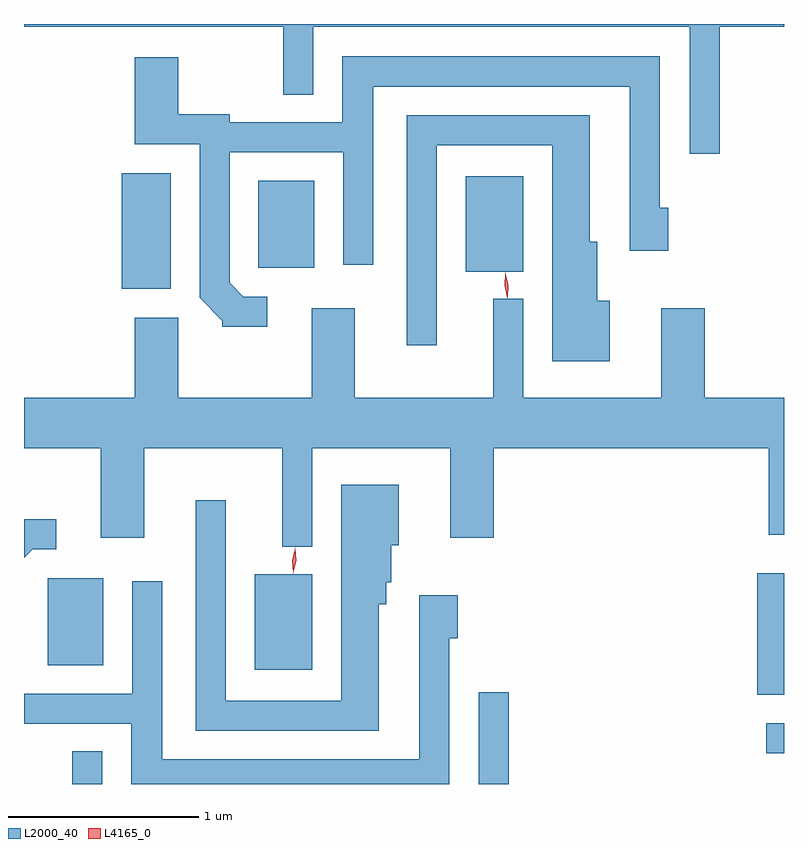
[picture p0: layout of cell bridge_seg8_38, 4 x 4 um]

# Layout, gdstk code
import gdstk
lib = gdstk.Library(unit=1e-6, precision=1e-09)
def R(c, l, rs):  # rectangles x0, y0, x1, y1
    for r in rs: c.add(gdstk.rectangle(r[:2], r[2:], *l))
def P(c, l, *ps):  # polygons
    for p in ps: c.add(gdstk.Polygon(p, *l))
L2000_40 = (2000, 40)
L4165_0 = (4165, 0)

bridge_seg8_38 = lib.new_cell('bridge_seg8_38')
R(bridge_seg8_38, L2000_40, [(1487.791,1879.05,1487.949,1879.223), (1489.931,1879.05,1490.089,1879.533), (1491.443,1879.211,1491.537,1879.369), (1491.396,1879.521,1491.537,1880.159), (1488.751,1879.651,1489.054,1880.154), (1487.661,1879.676,1487.954,1880.134), (1488.051,1881.656,1488.309,1882.264), (1489.861,1881.746,1490.164,1882.249), (1488.771,1881.766,1489.064,1882.224)])
P(bridge_seg8_38, L2000_40, [(1491.199,1883.036),(1491.537,1883.036),(1491.537,1883.05),(1487.537,1883.05),(1487.537,1883.036),(1488.901,1883.036),(1488.901,1882.678),(1489.059,1882.678),(1489.059,1883.036),(1491.041,1883.036),(1491.041,1882.368),(1491.199,1882.368)],
  [(1488.818,1881.614),(1488.692,1881.614),(1488.619,1881.687),(1488.619,1882.376),(1489.216,1882.376),(1489.216,1881.783),(1489.374,1881.783),(1489.374,1882.721),(1490.726,1882.721),(1490.726,1881.856),(1490.929,1881.856),(1490.929,1882.084),(1490.884,1882.084),(1490.884,1882.879),(1489.211,1882.879),(1489.211,1882.534),(1488.619,1882.534),(1488.619,1882.574),(1488.349,1882.574),(1488.349,1882.874),(1488.121,1882.874),(1488.121,1882.416),(1488.461,1882.416),(1488.461,1881.609),(1488.581,1881.489),(1488.581,1881.456),(1488.818,1881.456)],
  [(1490.619,1881.594),(1490.554,1881.594),(1490.554,1881.904),(1490.514,1881.904),(1490.514,1882.569),(1489.551,1882.569),(1489.551,1881.358),(1489.709,1881.358),(1489.709,1882.411),(1490.316,1882.411),(1490.316,1881.276),(1490.619,1881.276)],
  [(1490.891,1881.554),(1490.891,1881.084),(1490.164,1881.084),(1490.164,1881.603),(1490.006,1881.603),(1490.006,1881.084),(1489.279,1881.084),(1489.279,1881.554),(1489.051,1881.554),(1489.051,1881.084),(1488.349,1881.084),(1488.349,1881.504),(1488.121,1881.504),(1488.121,1881.084),(1487.537,1881.084),(1487.537,1880.816),(1487.941,1880.816),(1487.941,1880.346),(1488.169,1880.346),(1488.169,1880.816),(1488.896,1880.816),(1488.896,1880.298),(1489.054,1880.298),(1489.054,1880.816),(1489.781,1880.816),(1489.781,1880.346),(1490.009,1880.346),(1490.009,1880.816),(1491.456,1880.816),(1491.456,1880.361),(1491.537,1880.361),(1491.537,1881.084),(1491.119,1881.084),(1491.119,1881.554)],
  [(1489.404,1879.996),(1489.444,1879.996),(1489.444,1880.111),(1489.469,1880.111),(1489.469,1880.306),(1489.509,1880.306),(1489.509,1880.624),(1489.206,1880.624),(1489.206,1879.489),(1488.599,1879.489),(1488.599,1880.543),(1488.441,1880.543),(1488.441,1879.331),(1489.404,1879.331)],
  [(1487.582,1880.286),(1487.708,1880.286),(1487.708,1880.444),(1487.537,1880.444),(1487.537,1880.242)],
  [(1489.774,1879.816),(1489.819,1879.816),(1489.819,1880.044),(1489.616,1880.044),(1489.616,1879.179),(1488.264,1879.179),(1488.264,1880.118),(1488.106,1880.118),(1488.106,1879.524),(1487.537,1879.524),(1487.537,1879.366),(1488.101,1879.366),(1488.101,1879.05),(1489.774,1879.05)])
P(bridge_seg8_38, L4165_0, [(1490.081,1881.608),(1490.066,1881.673),(1490.069,1881.74),(1490.07,1881.74),(1490.07,1881.74),(1490.086,1881.675),(1490.082,1881.608),(1490.082,1881.608)],
  [(1488.954,1880.16),(1488.953,1880.161),(1488.949,1880.227),(1488.964,1880.292),(1488.964,1880.293),(1488.964,1880.292),(1488.969,1880.226),(1488.954,1880.161)])

lib.write_gds('bridge_seg8_38.gds')
